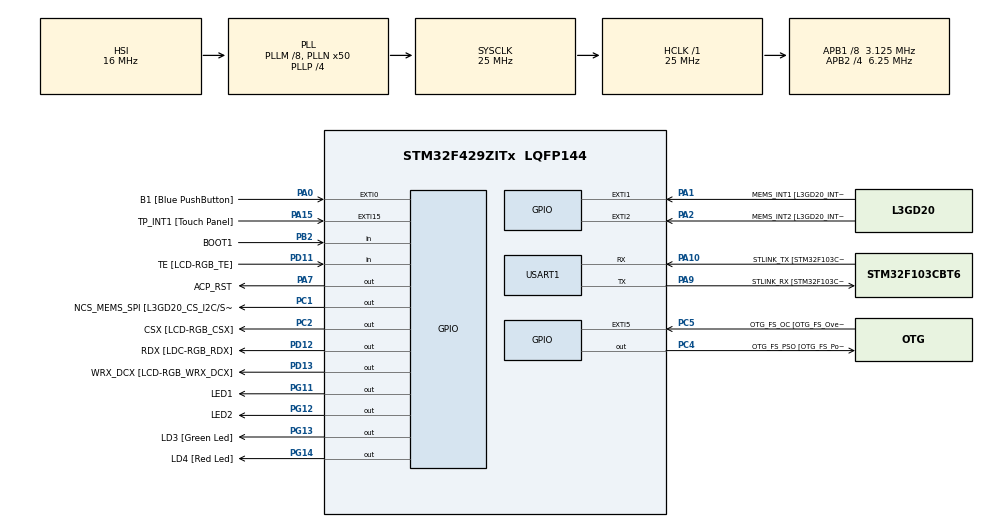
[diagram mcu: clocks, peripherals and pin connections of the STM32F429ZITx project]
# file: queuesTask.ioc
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Mcu.Family=STM32F4
Mcu.Name=STM32F429ZITx
Mcu.Package=LQFP144
NVIC.PriorityGroup=NVIC_PRIORITYGROUP_4
NVIC.TIM6_DAC_IRQn=true\:15\:0\:false\:false\:true\:false\:true\:true
NVIC.TimeBase=TIM6_DAC_IRQn
NVIC.TimeBaseIP=TIM6
NVIC.USART1_IRQn=true\:6\:0\:true\:false\:true\:true\:true\:true
PA0/WKUP.GPIO_Label=B1 [Blue PushButton]
PA0/WKUP.GPIO_ModeDefaultEXTI=GPIO_MODE_EVT_RISING
PA0/WKUP.GPIO_PuPd=GPIO_NOPULL
PA0/WKUP.Signal=GPXTI0
PA1.GPIO_Label=MEMS_INT1 [L3GD20_INT1]
PA1.GPIO_ModeDefaultEXTI=GPIO_MODE_EVT_RISING
PA1.GPIO_PuPd=GPIO_NOPULL
PA1.Signal=GPXTI1
PA10.GPIO_Label=STLINK_TX [STM32F103CBT6_PA2]
PA10.Mode=Asynchronous
PA10.Signal=USART1_RX
PA11.GPIO_Label=R4
PA11.GPIO_Mode=GPIO_MODE_AF_PP
PA11.GPIO_PuPd=GPIO_NOPULL
PA11.GPIO_Speed=GPIO_SPEED_FREQ_LOW
PA11.Signal=LTDC_R4
PA12.GPIO_Label=R5
PA12.GPIO_Mode=GPIO_MODE_AF_PP
PA12.GPIO_PuPd=GPIO_NOPULL
PA12.GPIO_Speed=GPIO_SPEED_FREQ_LOW
PA12.Signal=LTDC_R5
PA13.GPIO_Label=SWDIO
PA13.Signal=SYS_JTMS-SWDIO
PA14.GPIO_Label=SWCLK
PA14.Signal=SYS_JTCK-SWCLK
PA15.GPIO_Label=TP_INT1 [Touch Panel]
PA15.GPIO_ModeDefaultEXTI=GPIO_MODE_EVT_RISING
PA15.GPIO_PuPd=GPIO_NOPULL
PA15.Signal=GPXTI15
PA2.GPIO_Label=MEMS_INT2 [L3GD20_INT2]
PA2.GPIO_ModeDefaultEXTI=GPIO_MODE_EVT_RISING
PA2.GPIO_PuPd=GPIO_NOPULL
PA2.Signal=GPXTI2
PA3.GPIO_Label=B5
PA3.GPIO_Mode=GPIO_MODE_AF_PP
PA3.GPIO_PuPd=GPIO_NOPULL
PA3.GPIO_Speed=GPIO_SPEED_FREQ_LOW
PA3.Signal=LTDC_B5
PA4.GPIO_Label=VSYNC
PA4.GPIO_Mode=GPIO_MODE_AF_PP
PA4.GPIO_PuPd=GPIO_NOPULL
PA4.GPIO_Speed=GPIO_SPEED_FREQ_LOW
PA4.Signal=LTDC_VSYNC
PA6.GPIO_Label=G2
PA6.GPIO_Mode=GPIO_MODE_AF_PP
PA6.GPIO_PuPd=GPIO_NOPULL
PA6.GPIO_Speed=GPIO_SPEED_FREQ_LOW
PA6.Signal=LTDC_G2
PA7.GPIO_Label=ACP_RST
PA7.GPIO_Mode=GPIO_MODE_OUTPUT_PP
PA7.GPIO_PuPd=GPIO_NOPULL
PA7.GPIO_Speed=GPIO_SPEED_FREQ_LOW
PA7.Signal=GPIO_Output
PA8.GPIO_Label=I2C3_SCL [ACP/RF_SCL]
PA8.GPIO_Mode=GPIO_MODE_AF_OD
PA8.GPIO_PuPd=GPIO_NOPULL
PA8.GPIO_Speed=GPIO_SPEED_FREQ_LOW
PA8.Signal=I2C3_SCL
PA9.GPIO_Label=STLINK_RX [STM32F103CBT6_PA3]
PA9.Mode=Asynchronous
PA9.Signal=USART1_TX
PB0.GPIO_Label=R3
PB0.GPIO_Mode=GPIO_MODE_AF_PP
PB0.GPIO_PuPd=GPIO_NOPULL
PB0.GPIO_Speed=GPIO_SPEED_FREQ_LOW
PB0.Signal=LTDC_R3
PB1.GPIO_Label=R6
PB1.GPIO_Mode=GPIO_MODE_AF_PP
PB1.GPIO_PuPd=GPIO_NOPULL
PB1.GPIO_Speed=GPIO_SPEED_FREQ_LOW
PB1.Signal=LTDC_R6
PB10.GPIO_Label=G4
PB10.GPIO_Mode=GPIO_MODE_AF_PP
PB10.GPIO_PuPd=GPIO_NOPULL
PB10.GPIO_Speed=GPIO_SPEED_FREQ_LOW
PB10.Signal=LTDC_G4
PB11.GPIO_Label=G5
PB11.GPIO_Mode=GPIO_MODE_AF_PP
PB11.GPIO_PuPd=GPIO_NOPULL
PB11.GPIO_Speed=GPIO_SPEED_FREQ_LOW
PB11.Signal=LTDC_G5
PB12.GPIO_Label=OTG_HS_ID
PB12.GPIO_Mode=GPIO_MODE_AF_PP
PB12.GPIO_PuPd=GPIO_NOPULL
PB12.GPIO_Speed=GPIO_SPEED_FREQ_LOW
PB12.Signal=USB_OTG_HS_ID
PB13.GPIO_Label=VBUS_HS
PB13.GPIO_Mode=GPIO_MODE_INPUT
PB13.GPIO_PuPd=GPIO_NOPULL
PB13.Signal=USB_OTG_HS_VBUS
PB14.GPIO_Label=OTG_HS_DM
PB14.GPIO_Mode=GPIO_MODE_AF_PP
PB14.GPIO_PuPd=GPIO_NOPULL
PB14.GPIO_Speed=GPIO_SPEED_FREQ_LOW
PB14.Signal=USB_OTG_HS_DM
PB15.GPIO_Label=OTG_HS_DP
PB15.GPIO_Mode=GPIO_MODE_AF_PP
PB15.GPIO_PuPd=GPIO_NOPULL
PB15.GPIO_Speed=GPIO_SPEED_FREQ_LOW
PB15.Signal=USB_OTG_HS_DP
PB2/BOOT1.GPIO_Label=BOOT1
PB2/BOOT1.GPIO_Mode=GPIO_MODE_INPUT
PB2/BOOT1.GPIO_PuPd=GPIO_NOPULL
PB2/BOOT1.Signal=GPIO_Input
PB5.GPIO_Label=SDCKE1
PB5.GPIO_Mode=GPIO_MODE_AF_PP
PB5.GPIO_PuPd=GPIO_NOPULL
PB5.GPIO_Speed=GPIO_SPEED_FREQ_VERY_HIGH
PB5.Signal=FMC_SDCKE1
PB6.GPIO_Label=SDNE1 [SDRAM_CS]
PB6.GPIO_Mode=GPIO_MODE_AF_PP
PB6.GPIO_PuPd=GPIO_NOPULL
PB6.GPIO_Speed=GPIO_SPEED_FREQ_VERY_HIGH
PB6.Signal=FMC_SDNE1
PB8.GPIO_Label=B6
PB8.GPIO_Mode=GPIO_MODE_AF_PP
PB8.GPIO_PuPd=GPIO_NOPULL
PB8.GPIO_Speed=GPIO_SPEED_FREQ_LOW
PB8.Signal=LTDC_B6
PB9.GPIO_Label=B7
PB9.GPIO_Mode=GPIO_MODE_AF_PP
PB9.GPIO_PuPd=GPIO_NOPULL
PB9.GPIO_Speed=GPIO_SPEED_FREQ_LOW
PB9.Signal=LTDC_B7
PC0.GPIO_Label=SDNWE
PC0.GPIO_Mode=GPIO_MODE_AF_PP
PC0.GPIO_PuPd=GPIO_NOPULL
PC0.GPIO_Speed=GPIO_SPEED_FREQ_VERY_HIGH
PC0.Signal=FMC_SDNWE
PC1.GPIO_Label=NCS_MEMS_SPI [L3GD20_CS_I2C/SPI]
PC1.GPIO_Mode=GPIO_MODE_OUTPUT_PP
PC1.GPIO_PuPd=GPIO_NOPULL
PC1.GPIO_Speed=GPIO_SPEED_FREQ_LOW
PC1.Signal=GPIO_Output
PC10.GPIO_Label=R2
PC10.GPIO_Mode=GPIO_MODE_AF_PP
PC10.GPIO_PuPd=GPIO_NOPULL
PC10.GPIO_Speed=GPIO_SPEED_FREQ_LOW
PC10.Signal=LTDC_R2
PC14/OSC32_IN.GPIO_Label=PC14-OSC32_IN
PC14/OSC32_IN.Signal=RCC_OSC32_IN
PC15/OSC32_OUT.GPIO_Label=PC15-OSC32_OUT
PC15/OSC32_OUT.Signal=RCC_OSC32_OUT
PC2.GPIO_Label=CSX [LCD-RGB_CSX]
PC2.GPIO_Mode=GPIO_MODE_OUTPUT_PP
PC2.GPIO_PuPd=GPIO_NOPULL
PC2.GPIO_Speed=GPIO_SPEED_FREQ_LOW
PC2.Signal=GPIO_Output
PC4.GPIO_Label=OTG_FS_PSO [OTG_FS_PowerSwitchOn]
PC4.GPIO_Mode=GPIO_MODE_OUTPUT_PP
PC4.GPIO_PuPd=GPIO_NOPULL
PC4.GPIO_Speed=GPIO_SPEED_FREQ_LOW
PC4.Signal=GPIO_Output
PC5.GPIO_Label=OTG_FS_OC [OTG_FS_OverCurrent]
PC5.GPIO_ModeDefaultEXTI=GPIO_MODE_EVT_RISING
PC5.Signal=GPXTI5
PC6.GPIO_Label=HSYNC
PC6.GPIO_Mode=GPIO_MODE_AF_PP
PC6.GPIO_PuPd=GPIO_NOPULL
PC6.GPIO_Speed=GPIO_SPEED_FREQ_LOW
PC6.Signal=LTDC_HSYNC
PC7.GPIO_Label=G6
PC7.GPIO_Mode=GPIO_MODE_AF_PP
PC7.GPIO_PuPd=GPIO_NOPULL
PC7.GPIO_Speed=GPIO_SPEED_FREQ_LOW
PC7.Signal=LTDC_G6
PC9.GPIO_Label=I2C3_SDA [ACP/RF_SDA]
PC9.GPIO_Mode=GPIO_MODE_AF_OD
PC9.GPIO_PuPd=GPIO_NOPULL
PC9.GPIO_Speed=GPIO_SPEED_FREQ_LOW
PC9.Signal=I2C3_SDA
PD0.GPIO_Label=D2
PD0.GPIO_Mode=GPIO_MODE_AF_PP
PD0.GPIO_PuPd=GPIO_NOPULL
PD0.GPIO_Speed=GPIO_SPEED_FREQ_VERY_HIGH
PD0.Signal=FMC_D2_DA2
PD1.GPIO_Label=D3
PD1.GPIO_Mode=GPIO_MODE_AF_PP
PD1.GPIO_PuPd=GPIO_NOPULL
PD1.GPIO_Speed=GPIO_SPEED_FREQ_VERY_HIGH
PD1.Signal=FMC_D3_DA3
PD10.GPIO_Label=D15
PD10.GPIO_Mode=GPIO_MODE_AF_PP
PD10.GPIO_PuPd=GPIO_NOPULL
PD10.GPIO_Speed=GPIO_SPEED_FREQ_VERY_HIGH
PD10.Signal=FMC_D15_DA15
PD11.GPIO_Label=TE [LCD-RGB_TE]
PD11.GPIO_Mode=GPIO_MODE_INPUT
PD11.GPIO_PuPd=GPIO_NOPULL
PD11.Signal=GPIO_Input
PD12.GPIO_Label=RDX [LDC-RGB_RDX]
PD12.GPIO_Mode=GPIO_MODE_OUTPUT_PP
PD12.GPIO_PuPd=GPIO_NOPULL
PD12.GPIO_Speed=GPIO_SPEED_FREQ_LOW
PD12.Signal=GPIO_Output
PD13.GPIO_Label=WRX_DCX [LCD-RGB_WRX_DCX]
PD13.GPIO_Mode=GPIO_MODE_OUTPUT_PP
PD13.GPIO_PuPd=GPIO_NOPULL
PD13.GPIO_Speed=GPIO_SPEED_FREQ_LOW
PD13.Signal=GPIO_Output
PD14.GPIO_Label=D0
PD14.GPIO_Mode=GPIO_MODE_AF_PP
PD14.GPIO_PuPd=GPIO_NOPULL
PD14.GPIO_Speed=GPIO_SPEED_FREQ_VERY_HIGH
PD14.Signal=FMC_D0_DA0
PD15.GPIO_Label=D1
PD15.GPIO_Mode=GPIO_MODE_AF_PP
PD15.GPIO_PuPd=GPIO_NOPULL
PD15.GPIO_Speed=GPIO_SPEED_FREQ_VERY_HIGH
PD15.Signal=FMC_D1_DA1
PD3.GPIO_Label=G7
PD3.GPIO_Mode=GPIO_MODE_AF_PP
PD3.GPIO_PuPd=GPIO_NOPULL
PD3.GPIO_Speed=GPIO_SPEED_FREQ_LOW
PD3.Signal=LTDC_G7
PD6.GPIO_Label=B2
PD6.GPIO_Mode=GPIO_MODE_AF_PP
PD6.GPIO_PuPd=GPIO_NOPULL
PD6.GPIO_Speed=GPIO_SPEED_FREQ_LOW
PD6.Signal=LTDC_B2
PD8.GPIO_Label=D13
PD8.GPIO_Mode=GPIO_MODE_AF_PP
PD8.GPIO_PuPd=GPIO_NOPULL
PD8.GPIO_Speed=GPIO_SPEED_FREQ_VERY_HIGH
PD8.Signal=FMC_D13_DA13
PD9.GPIO_Label=D14
PD9.GPIO_Mode=GPIO_MODE_AF_PP
PD9.GPIO_PuPd=GPIO_NOPULL
PD9.GPIO_Speed=GPIO_SPEED_FREQ_VERY_HIGH
PD9.Signal=FMC_D14_DA14
PE0.GPIO_Label=NBL0 [SDRAM_LDQM]
PE0.GPIO_Mode=GPIO_MODE_AF_PP
PE0.GPIO_PuPd=GPIO_NOPULL
PE0.GPIO_Speed=GPIO_SPEED_FREQ_VERY_HIGH
PE0.Signal=FMC_NBL0
PE1.GPIO_Label=NBL1 [SDRAM_UDQM]
PE1.GPIO_Mode=GPIO_MODE_AF_PP
PE1.GPIO_PuPd=GPIO_NOPULL
PE1.GPIO_Speed=GPIO_SPEED_FREQ_VERY_HIGH
PE1.Signal=FMC_NBL1
PE10.GPIO_Label=D7
PE10.GPIO_Mode=GPIO_MODE_AF_PP
PE10.GPIO_PuPd=GPIO_NOPULL
PE10.GPIO_Speed=GPIO_SPEED_FREQ_VERY_HIGH
PE10.Signal=FMC_D7_DA7
PE11.GPIO_Label=D8
PE11.GPIO_Mode=GPIO_MODE_AF_PP
PE11.GPIO_PuPd=GPIO_NOPULL
PE11.GPIO_Speed=GPIO_SPEED_FREQ_VERY_HIGH
PE11.Signal=FMC_D8_DA8
PE12.GPIO_Label=D9
PE12.GPIO_Mode=GPIO_MODE_AF_PP
PE12.GPIO_PuPd=GPIO_NOPULL
PE12.GPIO_Speed=GPIO_SPEED_FREQ_VERY_HIGH
PE12.Signal=FMC_D9_DA9
PE13.GPIO_Label=D10
PE13.GPIO_Mode=GPIO_MODE_AF_PP
PE13.GPIO_PuPd=GPIO_NOPULL
PE13.GPIO_Speed=GPIO_SPEED_FREQ_VERY_HIGH
PE13.Signal=FMC_D10_DA10
PE14.GPIO_Label=D11
PE14.GPIO_Mode=GPIO_MODE_AF_PP
PE14.GPIO_PuPd=GPIO_NOPULL
PE14.GPIO_Speed=GPIO_SPEED_FREQ_VERY_HIGH
PE14.Signal=FMC_D11_DA11
PE15.GPIO_Label=D12
PE15.GPIO_Mode=GPIO_MODE_AF_PP
PE15.GPIO_PuPd=GPIO_NOPULL
PE15.GPIO_Speed=GPIO_SPEED_FREQ_VERY_HIGH
PE15.Signal=FMC_D12_DA12
PE7.GPIO_Label=D4
PE7.GPIO_Mode=GPIO_MODE_AF_PP
PE7.GPIO_PuPd=GPIO_NOPULL
PE7.GPIO_Speed=GPIO_SPEED_FREQ_VERY_HIGH
PE7.Signal=FMC_D4_DA4
PE8.GPIO_Label=D5
PE8.GPIO_Mode=GPIO_MODE_AF_PP
PE8.GPIO_PuPd=GPIO_NOPULL
PE8.GPIO_Speed=GPIO_SPEED_FREQ_VERY_HIGH
PE8.Signal=FMC_D5_DA5
PE9.GPIO_Label=D6
PE9.GPIO_Mode=GPIO_MODE_AF_PP
PE9.GPIO_PuPd=GPIO_NOPULL
PE9.GPIO_Speed=GPIO_SPEED_FREQ_VERY_HIGH
PE9.Signal=FMC_D6_DA6
PF0.GPIO_Label=A0
PF0.GPIO_Mode=GPIO_MODE_AF_PP
PF0.GPIO_PuPd=GPIO_NOPULL
PF0.GPIO_Speed=GPIO_SPEED_FREQ_VERY_HIGH
PF0.Signal=FMC_A0
PF1.GPIO_Label=A1
PF1.GPIO_Mode=GPIO_MODE_AF_PP
PF1.GPIO_PuPd=GPIO_NOPULL
PF1.GPIO_Speed=GPIO_SPEED_FREQ_VERY_HIGH
PF1.Signal=FMC_A1
PF10.GPIO_Label=ENABLE [LCD-RGB_ENABLE]
PF10.GPIO_Mode=GPIO_MODE_AF_PP
PF10.GPIO_PuPd=GPIO_NOPULL
PF10.GPIO_Speed=GPIO_SPEED_FREQ_LOW
PF10.Signal=LTDC_DE
PF11.GPIO_Label=SDNRAS
PF11.GPIO_Mode=GPIO_MODE_AF_PP
PF11.GPIO_PuPd=GPIO_NOPULL
PF11.GPIO_Speed=GPIO_SPEED_FREQ_VERY_HIGH
PF11.Signal=FMC_SDNRAS
PF12.GPIO_Label=A6
PF12.GPIO_Mode=GPIO_MODE_AF_PP
PF12.GPIO_PuPd=GPIO_NOPULL
PF12.GPIO_Speed=GPIO_SPEED_FREQ_VERY_HIGH
PF12.Signal=FMC_A6
PF13.GPIO_Label=A7
PF13.GPIO_Mode=GPIO_MODE_AF_PP
PF13.GPIO_PuPd=GPIO_NOPULL
PF13.GPIO_Speed=GPIO_SPEED_FREQ_VERY_HIGH
PF13.Signal=FMC_A7
PF14.GPIO_Label=A8
PF14.GPIO_Mode=GPIO_MODE_AF_PP
PF14.GPIO_PuPd=GPIO_NOPULL
PF14.GPIO_Speed=GPIO_SPEED_FREQ_VERY_HIGH
PF14.Signal=FMC_A8
PF15.GPIO_Label=A9
PF15.GPIO_Mode=GPIO_MODE_AF_PP
PF15.GPIO_PuPd=GPIO_NOPULL
PF15.GPIO_Speed=GPIO_SPEED_FREQ_VERY_HIGH
PF15.Signal=FMC_A9
PF2.GPIO_Label=A2
PF2.GPIO_Mode=GPIO_MODE_AF_PP
PF2.GPIO_PuPd=GPIO_NOPULL
PF2.GPIO_Speed=GPIO_SPEED_FREQ_VERY_HIGH
PF2.Signal=FMC_A2
PF3.Signal=FMC_A3
PF4.Signal=FMC_A4
PF5.GPIO_Label=A5
PF5.GPIO_Mode=GPIO_MODE_AF_PP
PF5.GPIO_PuPd=GPIO_NOPULL
PF5.GPIO_Speed=GPIO_SPEED_FREQ_VERY_HIGH
PF5.Signal=FMC_A5
PF7.GPIO_Label=SPI5_SCK [L3GD20_SCL/SPC]
PF7.GPIO_Mode=GPIO_MODE_AF_PP
PF7.GPIO_PuPd=GPIO_NOPULL
PF7.GPIO_Speed=GPIO_SPEED_FREQ_LOW
PF7.Signal=SPI5_SCK
PF8.GPIO_Label=SPI5_MISO [L3GD20_SDO]
PF8.GPIO_Mode=GPIO_MODE_AF_PP
PF8.GPIO_PuPd=GPIO_NOPULL
PF8.GPIO_Speed=GPIO_SPEED_FREQ_LOW
PF8.Signal=SPI5_MISO
PF9.GPIO_Label=SPI5_MOSI [L3GD20_SDA/SDI/SDO]
PF9.GPIO_Mode=GPIO_MODE_AF_PP
PF9.GPIO_PuPd=GPIO_NOPULL
PF9.GPIO_Speed=GPIO_SPEED_FREQ_LOW
PF9.Signal=SPI5_MOSI
PG0.GPIO_Label=A10
PG0.GPIO_Mode=GPIO_MODE_AF_PP
PG0.GPIO_PuPd=GPIO_NOPULL
PG0.GPIO_Speed=GPIO_SPEED_FREQ_VERY_HIGH
PG0.Signal=FMC_A10
PG1.GPIO_Label=A11
PG1.GPIO_Mode=GPIO_MODE_AF_PP
PG1.GPIO_PuPd=GPIO_NOPULL
PG1.GPIO_Speed=GPIO_SPEED_FREQ_VERY_HIGH
PG1.Signal=FMC_A11
PG10.GPIO_Label=G3
PG10.GPIO_Mode=GPIO_MODE_AF_PP
PG10.GPIO_PuPd=GPIO_NOPULL
PG10.GPIO_Speed=GPIO_SPEED_FREQ_LOW
PG10.Signal=LTDC_G3
PG11.GPIO_Label=LED1
PG11.Signal=GPIO_Output
PG12.GPIO_Label=LED2
PG12.Signal=GPIO_Output
PG13.GPIO_Label=LD3 [Green Led]
PG13.GPIO_Mode=GPIO_MODE_OUTPUT_PP
PG13.GPIO_PuPd=GPIO_NOPULL
PG13.GPIO_Speed=GPIO_SPEED_FREQ_LOW
PG13.Signal=GPIO_Output
PG14.GPIO_Label=LD4 [Red Led]
PG14.GPIO_Mode=GPIO_MODE_OUTPUT_PP
PG14.GPIO_PuPd=GPIO_NOPULL
PG14.GPIO_Speed=GPIO_SPEED_FREQ_LOW
PG14.Signal=GPIO_Output
PG15.GPIO_Label=SDNCAS
PG15.GPIO_Mode=GPIO_MODE_AF_PP
PG15.GPIO_PuPd=GPIO_NOPULL
PG15.GPIO_Speed=GPIO_SPEED_FREQ_VERY_HIGH
PG15.Signal=FMC_SDNCAS
PG4.GPIO_Label=BA0
PG4.GPIO_Mode=GPIO_MODE_AF_PP
PG4.GPIO_PuPd=GPIO_NOPULL
PG4.GPIO_Speed=GPIO_SPEED_FREQ_VERY_HIGH
PG4.Signal=FMC_A14_BA0
PG5.GPIO_Label=BA1
PG5.GPIO_Mode=GPIO_MODE_AF_PP
PG5.GPIO_PuPd=GPIO_NOPULL
PG5.GPIO_Speed=GPIO_SPEED_FREQ_VERY_HIGH
PG5.Signal=FMC_A15_BA1
PG6.GPIO_Label=R7
PG6.GPIO_Mode=GPIO_MODE_AF_PP
PG6.GPIO_PuPd=GPIO_NOPULL
PG6.GPIO_Speed=GPIO_SPEED_FREQ_LOW
PG6.Signal=LTDC_R7
PG7.GPIO_Label=DOTCLK [LCT-RGB_DOTCLK]
PG7.GPIO_Mode=GPIO_MODE_AF_PP
PG7.GPIO_PuPd=GPIO_NOPULL
PG7.GPIO_Speed=GPIO_SPEED_FREQ_LOW
PG7.Signal=LTDC_CLK
PG8.GPIO_Label=SDCLK
PG8.GPIO_Mode=GPIO_MODE_AF_PP
PG8.GPIO_PuPd=GPIO_NOPULL
PG8.GPIO_Speed=GPIO_SPEED_FREQ_VERY_HIGH
PG8.Signal=FMC_SDCLK
PH0/OSC_IN.GPIO_Label=PH0-OSC_IN
PH0/OSC_IN.Signal=RCC_OSC_IN
PH1/OSC_OUT.GPIO_Label=PH1-OSC_OUT
PH1/OSC_OUT.Signal=RCC_OSC_OUT
ProjectManager.HeapSize=0x200
ProjectManager.StackSize=0x400
ProjectManager.TargetToolchain=STM32CubeIDE
RCC.48MHZClocksFreq_Value=14285714.285714285
RCC.AHBFreq_Value=25000000
RCC.APB1CLKDivider=RCC_HCLK_DIV8
RCC.APB1Freq_Value=3125000
RCC.APB1TimFreq_Value=6250000
RCC.APB2CLKDivider=RCC_HCLK_DIV4
RCC.APB2Freq_Value=6250000
RCC.APB2TimFreq_Value=12500000
RCC.CortexFreq_Value=25000000
RCC.HCLKFreq_Value=25000000
RCC.HSE_VALUE=8000000
RCC.HSI_VALUE=16000000
RCC.LSE_VALUE=32768
RCC.PLLM=8
RCC.PLLN=50
RCC.PLLP=RCC_PLLP_DIV4
RCC.PLLQ=7
RCC.SYSCLKFreq_VALUE=25000000
RCC.SYSCLKSource=RCC_SYSCLKSOURCE_PLLCLK
RCC.VCOOutputFreq_Value=100000000
RTC.HourFormat=RTC_HOURFORMAT_12
SH.FMC_A0.0=FMC_A0
SH.FMC_A1.0=FMC_A1
SH.FMC_A10.0=FMC_A10
SH.FMC_A11.0=FMC_A11
SH.FMC_A14_BA0.0=FMC_BA0
SH.FMC_A15_BA1.0=FMC_BA1
SH.FMC_A2.0=FMC_A2
SH.FMC_A3.0=FMC_A3
SH.FMC_A4.0=FMC_A4
SH.FMC_A5.0=FMC_A5
SH.FMC_A6.0=FMC_A6
SH.FMC_A7.0=FMC_A7
SH.FMC_A8.0=FMC_A8
SH.FMC_A9.0=FMC_A9
SH.FMC_D0_DA0.0=FMC_D0
SH.FMC_D10_DA10.0=FMC_D10
SH.FMC_D11_DA11.0=FMC_D11
SH.FMC_D12_DA12.0=FMC_D12
SH.FMC_D13_DA13.0=FMC_D13
SH.FMC_D14_DA14.0=FMC_D14
SH.FMC_D15_DA15.0=FMC_D15
SH.FMC_D1_DA1.0=FMC_D1
SH.FMC_D2_DA2.0=FMC_D2
SH.FMC_D3_DA3.0=FMC_D3
SH.FMC_D4_DA4.0=FMC_D4
SH.FMC_D5_DA5.0=FMC_D5
SH.FMC_D6_DA6.0=FMC_D6
SH.FMC_D7_DA7.0=FMC_D7
SH.FMC_D8_DA8.0=FMC_D8
SH.FMC_D9_DA9.0=FMC_D9
SH.FMC_NBL0.0=FMC_NBL0
SH.FMC_NBL1.0=FMC_NBL1
SH.FMC_SDCLK.0=FMC_SDCLK
SH.FMC_SDNCAS.0=FMC_SDNCAS
SH.FMC_SDNRAS.0=FMC_SDNRAS
SH.FMC_SDNWE.0=FMC_SDNWE
USART1.VirtualMode=VM_ASYNC
VP_RTC_VS_RTC_Activate.Mode=RTC_Enabled
VP_SYS_VS_tim6.Mode=TIM6
board=STM32F429I-DISC1

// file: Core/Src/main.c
/* USER CODE BEGIN Header */
/**
  ******************************************************************************
  * @file           : main.c
  * @brief          : Main program body
  ******************************************************************************
  * @attention
  *
  * Copyright (c) 2022 STMicroelectronics.
  * All rights reserved.
  *
  * This software is licensed under terms that can be found in the LICENSE file
  * in the root directory of this software component.
  * If no LICENSE file comes with this software, it is provided AS-IS.
  *
  ******************************************************************************
  */
/* USER CODE END Header */
#include "main.h"

RTC_HandleTypeDef hrtc;

UART_HandleTypeDef huart1;

/* USER CODE BEGIN PV */

// Task handler
xTaskHandle handle_cmd_task;
xTaskHandle handle_menu_task;
xTaskHandle handle_print_task;
xTaskHandle handle_led_task;
xTaskHandle handle_rtc_task;

// QUEUE creation
QueueHandle_t q_data;
QueueHandle_t q_print;

// User Data creation
uint8_t user_data;

//state variable delaraton
state_t curr_state = sMainMenu;

// Timer variable declaration
TimerHandle_t  handle_led_timer[4];  // its is an array of 4 elements representing the 4 timer we needed for led effect
TimerHandle_t rtc_timer;

/* USER CODE END PV */

void SystemClock_Config(void);
static void MX_GPIO_Init(void);
static void MX_RTC_Init(void);
static void MX_USART1_UART_Init(void);
/* USER CODE BEGIN PFP */

void led_effect_callback(TimerHandle_t xTimer);
void rtc_report_callback( TimerHandle_t xTimer );

/* USER CODE END PFP */

int main(void)
{
  /* USER CODE BEGIN 1 */
	BaseType_t status;
  /* USER CODE END 1 */

  /* MCU Configuration--------------------------------------------------------*/

  /* Reset of all peripherals, Initializes the Flash interface and the Systick. */
  HAL_Init();

  /* Configure the system clock */
  SystemClock_Config();

  /* Initialize all configured peripherals */
  MX_GPIO_Init();
  MX_RTC_Init();
  MX_USART1_UART_Init();
  /* USER CODE BEGIN 2 */
  SEGGER_SYSVIEW_Conf();
  //SEGGER_SYSVIEW_Start();

  // Task creation
  status = xTaskCreate(menu_task, "menu_task", 250, NULL, 2, &handle_menu_task);
  configASSERT(status == pdPASS);

  status = xTaskCreate(cmd_handler_task, "cmd_task", 250, NULL, 2, &handle_cmd_task);
  configASSERT(status == pdPASS);

  status = xTaskCreate(print_task, "print_task", 250, NULL, 2, &handle_print_task);
  configASSERT(status == pdPASS);

  status = xTaskCreate(led_task, "led_task", 250, NULL, 2, &handle_led_task);
  configASSERT(status == pdPASS);

  status = xTaskCreate(rtc_task, "rtc_task", 250, NULL, 2, &handle_rtc_task);
  configASSERT(status == pdPASS);

  //Que creation
  q_data = xQueueCreate (10, sizeof(char));  // Que has 10 item which have sizeof char as the size
  configASSERT(q_data != NULL);				  // If Que return value is NUll, hang the data here

  q_print = xQueueCreate (10, sizeof(size_t));
  configASSERT(q_print != NULL);

  // freeRTOS software timer created for led effect
	for(int i = 0 ; i < 4 ; i++)	//Arguements 1. human readable name, 2.time in ticks 3. auto roll the timer true 4. timer id 5. call back function
		handle_led_timer[i] = xTimerCreate("led_timer",pdMS_TO_TICKS(500),pdTRUE, (void*)(i+1),led_effect_callback);

	rtc_timer = xTimerCreate ("rtc_report_timer",pdMS_TO_TICKS(1000),pdTRUE,NULL,rtc_report_callback);

  // This function that is copied from stm32f4xx_haluart.c it prepares the peripherals to receive UART interupt
  // and is called UART receive interrupt and receive uart handler the variable to store the data and the lenght of the data to receive which is one
  //the first argument is the uart we are using, the second is the userdata tha will be received the third is the byte of data
  //It is related to HAL_UART_RxCpltCallback also found in stm32f4xx_haluart.c and it is implemented in line 527 of this file
  HAL_UART_Receive_IT(&huart1, (uint8_t*)&user_data, 1); // This is also copied from stm32f4xx_haluart.c

  vTaskStartScheduler();

  /* USER CODE END 2 */

  /* Infinite loop */
  while (1)
  {

  }
}

void SystemClock_Config(void)
{
  RCC_OscInitTypeDef RCC_OscInitStruct = {0};
  RCC_ClkInitTypeDef RCC_ClkInitStruct = {0};

  /** Configure the main internal regulator output voltage
  */
  __HAL_RCC_PWR_CLK_ENABLE();
  __HAL_PWR_VOLTAGESCALING_CONFIG(PWR_REGULATOR_VOLTAGE_SCALE3);

  /** Initializes the RCC Oscillators according to the specified parameters
  * in the RCC_OscInitTypeDef structure.
  */
  RCC_OscInitStruct.OscillatorType = RCC_OSCILLATORTYPE_HSI|RCC_OSCILLATORTYPE_LSI;
  RCC_OscInitStruct.HSIState = RCC_HSI_ON;
  RCC_OscInitStruct.HSICalibrationValue = RCC_HSICALIBRATION_DEFAULT;
  RCC_OscInitStruct.LSIState = RCC_LSI_ON;
  RCC_OscInitStruct.PLL.PLLState = RCC_PLL_ON;
  RCC_OscInitStruct.PLL.PLLSource = RCC_PLLSOURCE_HSI;
  RCC_OscInitStruct.PLL.PLLM = 8;
  RCC_OscInitStruct.PLL.PLLN = 50;
  RCC_OscInitStruct.PLL.PLLP = RCC_PLLP_DIV4;
  RCC_OscInitStruct.PLL.PLLQ = 7;
  if (HAL_RCC_OscConfig(&RCC_OscInitStruct) != HAL_OK)
  {
    Error_Handler();
  }

  /** Initializes the CPU, AHB and APB buses clocks
  */
  RCC_ClkInitStruct.ClockType = RCC_CLOCKTYPE_HCLK|RCC_CLOCKTYPE_SYSCLK
                              |RCC_CLOCKTYPE_PCLK1|RCC_CLOCKTYPE_PCLK2;
  RCC_ClkInitStruct.SYSCLKSource = RCC_SYSCLKSOURCE_PLLCLK;
  RCC_ClkInitStruct.AHBCLKDivider = RCC_SYSCLK_DIV1;
  RCC_ClkInitStruct.APB1CLKDivider = RCC_HCLK_DIV8;
  RCC_ClkInitStruct.APB2CLKDivider = RCC_HCLK_DIV4;

  if (HAL_RCC_ClockConfig(&RCC_ClkInitStruct, FLASH_LATENCY_0) != HAL_OK)
  {
    Error_Handler();
  }
}

static void MX_RTC_Init(void)
{

  /** Initialize RTC Only
  */
  hrtc.Instance = RTC;
  hrtc.Init.HourFormat = RTC_HOURFORMAT_12;
  hrtc.Init.AsynchPrediv = 127;
  hrtc.Init.SynchPrediv = 255;
  hrtc.Init.OutPut = RTC_OUTPUT_DISABLE;
  hrtc.Init.OutPutPolarity = RTC_OUTPUT_POLARITY_HIGH;
  hrtc.Init.OutPutType = RTC_OUTPUT_TYPE_OPENDRAIN;
  if (HAL_RTC_Init(&hrtc) != HAL_OK)
  {
    Error_Handler();
  }

}

static void MX_USART1_UART_Init(void)
{

  huart1.Instance = USART1;
  huart1.Init.BaudRate = 115200;
  huart1.Init.WordLength = UART_WORDLENGTH_8B;
  huart1.Init.StopBits = UART_STOPBITS_1;
  huart1.Init.Parity = UART_PARITY_NONE;
  huart1.Init.Mode = UART_MODE_TX_RX;
  huart1.Init.HwFlowCtl = UART_HWCONTROL_NONE;
  huart1.Init.OverSampling = UART_OVERSAMPLING_16;
  if (HAL_UART_Init(&huart1) != HAL_OK)
  {
    Error_Handler();
  }

}

static void MX_GPIO_Init(void)
{
  GPIO_InitTypeDef GPIO_InitStruct = {0};

  /* GPIO Ports Clock Enable */
  __HAL_RCC_GPIOC_CLK_ENABLE();
  __HAL_RCC_GPIOF_CLK_ENABLE();
  __HAL_RCC_GPIOH_CLK_ENABLE();
  __HAL_RCC_GPIOA_CLK_ENABLE();
  __HAL_RCC_GPIOB_CLK_ENABLE();
  __HAL_RCC_GPIOG_CLK_ENABLE();
  __HAL_RCC_GPIOE_CLK_ENABLE();
  __HAL_RCC_GPIOD_CLK_ENABLE();

  /*Configure GPIO pin Output Level */
  HAL_GPIO_WritePin(GPIOC, NCS_MEMS_SPI_Pin|CSX_Pin|OTG_FS_PSO_Pin, GPIO_PIN_RESET);

  /*Configure GPIO pin Output Level */
  HAL_GPIO_WritePin(ACP_RST_GPIO_Port, ACP_RST_Pin, GPIO_PIN_RESET);

  /*Configure GPIO pin Output Level */
  HAL_GPIO_WritePin(GPIOD, RDX_Pin|WRX_DCX_Pin, GPIO_PIN_RESET);

  /*Configure GPIO pin Output Level */
  HAL_GPIO_WritePin(GPIOG, LED1_Pin|LED2_Pin|LD3_Pin|LD4_Pin, GPIO_PIN_RESET);

  /*Configure GPIO pins : A0_Pin A1_Pin A2_Pin PF3
                           PF4 A5_Pin SDNRAS_Pin A6_Pin
                           A7_Pin A8_Pin A9_Pin */
  GPIO_InitStruct.Pin = A0_Pin|A1_Pin|A2_Pin|GPIO_PIN_3
                          |GPIO_PIN_4|A5_Pin|SDNRAS_Pin|A6_Pin
                          |A7_Pin|A8_Pin|A9_Pin;
  GPIO_InitStruct.Mode = GPIO_MODE_AF_PP;
  GPIO_InitStruct.Pull = GPIO_NOPULL;
  GPIO_InitStruct.Speed = GPIO_SPEED_FREQ_VERY_HIGH;
  GPIO_InitStruct.Alternate = GPIO_AF12_FMC;
  HAL_GPIO_Init(GPIOF, &GPIO_InitStruct);

  /*Configure GPIO pins : SPI5_SCK_Pin SPI5_MISO_Pin SPI5_MOSI_Pin */
  GPIO_InitStruct.Pin = SPI5_SCK_Pin|SPI5_MISO_Pin|SPI5_MOSI_Pin;
  GPIO_InitStruct.Mode = GPIO_MODE_AF_PP;
  GPIO_InitStruct.Pull = GPIO_NOPULL;
  GPIO_InitStruct.Speed = GPIO_SPEED_FREQ_LOW;
  GPIO_InitStruct.Alternate = GPIO_AF5_SPI5;
  HAL_GPIO_Init(GPIOF, &GPIO_InitStruct);

  /*Configure GPIO pin : ENABLE_Pin */
  GPIO_InitStruct.Pin = ENABLE_Pin;
  GPIO_InitStruct.Mode = GPIO_MODE_AF_PP;
  GPIO_InitStruct.Pull = GPIO_NOPULL;
  GPIO_InitStruct.Speed = GPIO_SPEED_FREQ_LOW;
  GPIO_InitStruct.Alternate = GPIO_AF14_LTDC;
  HAL_GPIO_Init(ENABLE_GPIO_Port, &GPIO_InitStruct);

  /*Configure GPIO pin : SDNWE_Pin */
  GPIO_InitStruct.Pin = SDNWE_Pin;
  GPIO_InitStruct.Mode = GPIO_MODE_AF_PP;
  GPIO_InitStruct.Pull = GPIO_NOPULL;
  GPIO_InitStruct.Speed = GPIO_SPEED_FREQ_VERY_HIGH;
  GPIO_InitStruct.Alternate = GPIO_AF12_FMC;
  HAL_GPIO_Init(SDNWE_GPIO_Port, &GPIO_InitStruct);

  /*Configure GPIO pins : NCS_MEMS_SPI_Pin CSX_Pin OTG_FS_PSO_Pin */
  GPIO_InitStruct.Pin = NCS_MEMS_SPI_Pin|CSX_Pin|OTG_FS_PSO_Pin;
  GPIO_InitStruct.Mode = GPIO_MODE_OUTPUT_PP;
  GPIO_InitStruct.Pull = GPIO_NOPULL;
  GPIO_InitStruct.Speed = GPIO_SPEED_FREQ_LOW;
  HAL_GPIO_Init(GPIOC, &GPIO_InitStruct);

  /*Configure GPIO pins : B1_Pin MEMS_INT1_Pin MEMS_INT2_Pin TP_INT1_Pin */
  GPIO_InitStruct.Pin = B1_Pin|MEMS_INT1_Pin|MEMS_INT2_Pin|TP_INT1_Pin;
  GPIO_InitStruct.Mode = GPIO_MODE_EVT_RISING;
  GPIO_InitStruct.Pull = GPIO_NOPULL;
  HAL_GPIO_Init(GPIOA, &GPIO_InitStruct);

  /*Configure GPIO pins : B5_Pin VSYNC_Pin G2_Pin R4_Pin
                           R5_Pin */
  GPIO_InitStruct.Pin = B5_Pin|VSYNC_Pin|G2_Pin|R4_Pin
                          |R5_Pin;
  GPIO_InitStruct.Mode = GPIO_MODE_AF_PP;
  GPIO_InitStruct.Pull = GPIO_NOPULL;
  GPIO_InitStruct.Speed = GPIO_SPEED_FREQ_LOW;
  GPIO_InitStruct.Alternate = GPIO_AF14_LTDC;
  HAL_GPIO_Init(GPIOA, &GPIO_InitStruct);

  /*Configure GPIO pin : ACP_RST_Pin */
  GPIO_InitStruct.Pin = ACP_RST_Pin;
  GPIO_InitStruct.Mode = GPIO_MODE_OUTPUT_PP;
  GPIO_InitStruct.Pull = GPIO_NOPULL;
  GPIO_InitStruct.Speed = GPIO_SPEED_FREQ_LOW;
  HAL_GPIO_Init(ACP_RST_GPIO_Port, &GPIO_InitStruct);

  /*Configure GPIO pin : OTG_FS_OC_Pin */
  GPIO_InitStruct.Pin = OTG_FS_OC_Pin;
  GPIO_InitStruct.Mode = GPIO_MODE_EVT_RISING;
  GPIO_InitStruct.Pull = GPIO_NOPULL;
  HAL_GPIO_Init(OTG_FS_OC_GPIO_Port, &GPIO_InitStruct);

  /*Configure GPIO pins : R3_Pin R6_Pin */
  GPIO_InitStruct.Pin = R3_Pin|R6_Pin;
  GPIO_InitStruct.Mode = GPIO_MODE_AF_PP;
  GPIO_InitStruct.Pull = GPIO_NOPULL;
  GPIO_InitStruct.Speed = GPIO_SPEED_FREQ_LOW;
  GPIO_InitStruct.Alternate = GPIO_AF9_LTDC;
  HAL_GPIO_Init(GPIOB, &GPIO_InitStruct);

  /*Configure GPIO pin : BOOT1_Pin */
  GPIO_InitStruct.Pin = BOOT1_Pin;
  GPIO_InitStruct.Mode = GPIO_MODE_INPUT;
  GPIO_InitStruct.Pull = GPIO_NOPULL;
  HAL_GPIO_Init(BOOT1_GPIO_Port, &GPIO_InitStruct);

  /*Configure GPIO pins : A10_Pin A11_Pin BA0_Pin BA1_Pin
                           SDCLK_Pin SDNCAS_Pin */
  GPIO_InitStruct.Pin = A10_Pin|A11_Pin|BA0_Pin|BA1_Pin
                          |SDCLK_Pin|SDNCAS_Pin;
  GPIO_InitStruct.Mode = GPIO_MODE_AF_PP;
  GPIO_InitStruct.Pull = GPIO_NOPULL;
  GPIO_InitStruct.Speed = GPIO_SPEED_FREQ_VERY_HIGH;
  GPIO_InitStruct.Alternate = GPIO_AF12_FMC;
  HAL_GPIO_Init(GPIOG, &GPIO_InitStruct);

  /*Configure GPIO pins : D4_Pin D5_Pin D6_Pin D7_Pin
                           D8_Pin D9_Pin D10_Pin D11_Pin
                           D12_Pin NBL0_Pin NBL1_Pin */
  GPIO_InitStruct.Pin = D4_Pin|D5_Pin|D6_Pin|D7_Pin
                          |D8_Pin|D9_Pin|D10_Pin|D11_Pin
                          |D12_Pin|NBL0_Pin|NBL1_Pin;
  GPIO_InitStruct.Mode = GPIO_MODE_AF_PP;
  GPIO_InitStruct.Pull = GPIO_NOPULL;
  GPIO_InitStruct.Speed = GPIO_SPEED_FREQ_VERY_HIGH;
  GPIO_InitStruct.Alternate = GPIO_AF12_FMC;
  HAL_GPIO_Init(GPIOE, &GPIO_InitStruct);

  /*Configure GPIO pins : G4_Pin G5_Pin B6_Pin B7_Pin */
  GPIO_InitStruct.Pin = G4_Pin|G5_Pin|B6_Pin|B7_Pin;
  GPIO_InitStruct.Mode = GPIO_MODE_AF_PP;
  GPIO_InitStruct.Pull = GPIO_NOPULL;
  GPIO_InitStruct.Speed = GPIO_SPEED_FREQ_LOW;
  GPIO_InitStruct.Alternate = GPIO_AF14_LTDC;
  HAL_GPIO_Init(GPIOB, &GPIO_InitStruct);

  /*Configure GPIO pins : OTG_HS_ID_Pin OTG_HS_DM_Pin OTG_HS_DP_Pin */
  GPIO_InitStruct.Pin = OTG_HS_ID_Pin|OTG_HS_DM_Pin|OTG_HS_DP_Pin;
  GPIO_InitStruct.Mode = GPIO_MODE_AF_PP;
  GPIO_InitStruct.Pull = GPIO_NOPULL;
  GPIO_InitStruct.Speed = GPIO_SPEED_FREQ_LOW;
  GPIO_InitStruct.Alternate = GPIO_AF12_OTG_HS_FS;
  HAL_GPIO_Init(GPIOB, &GPIO_InitStruct);

  /*Configure GPIO pin : VBUS_HS_Pin */
  GPIO_InitStruct.Pin = VBUS_HS_Pin;
  GPIO_InitStruct.Mode = GPIO_MODE_INPUT;
  GPIO_InitStruct.Pull = GPIO_NOPULL;
  HAL_GPIO_Init(VBUS_HS_GPIO_Port, &GPIO_InitStruct);

  /*Configure GPIO pins : D13_Pin D14_Pin D15_Pin D0_Pin
                           D1_Pin D2_Pin D3_Pin */
  GPIO_InitStruct.Pin = D13_Pin|D14_Pin|D15_Pin|D0_Pin
                          |D1_Pin|D2_Pin|D3_Pin;
  GPIO_InitStruct.Mode = GPIO_MODE_AF_PP;
  GPIO_InitStruct.Pull = GPIO_NOPULL;
  GPIO_InitStruct.Speed = GPIO_SPEED_FREQ_VERY_HIGH;
  GPIO_InitStruct.Alternate = GPIO_AF12_FMC;
  HAL_GPIO_Init(GPIOD, &GPIO_InitStruct);

  /*Configure GPIO pin : TE_Pin */
  GPIO_InitStruct.Pin = TE_Pin;
  GPIO_InitStruct.Mode = GPIO_MODE_INPUT;
  GPIO_InitStruct.Pull = GPIO_NOPULL;
  HAL_GPIO_Init(TE_GPIO_Port, &GPIO_InitStruct);

  /*Configure GPIO pins : RDX_Pin WRX_DCX_Pin */
  GPIO_InitStruct.Pin = RDX_Pin|WRX_DCX_Pin;
  GPIO_InitStruct.Mode = GPIO_MODE_OUTPUT_PP;
  GPIO_InitStruct.Pull = GPIO_NOPULL;
  GPIO_InitStruct.Speed = GPIO_SPEED_FREQ_LOW;
  HAL_GPIO_Init(GPIOD, &GPIO_InitStruct);

  /*Configure GPIO pins : R7_Pin DOTCLK_Pin */
  GPIO_InitStruct.Pin = R7_Pin|DOTCLK_Pin;
  GPIO_InitStruct.Mode = GPIO_MODE_AF_PP;
  GPIO_InitStruct.Pull = GPIO_NOPULL;
  GPIO_InitStruct.Speed = GPIO_SPEED_FREQ_LOW;
  GPIO_InitStruct.Alternate = GPIO_AF14_LTDC;
  HAL_GPIO_Init(GPIOG, &GPIO_InitStruct);

  /*Configure GPIO pins : HSYNC_Pin G6_Pin R2_Pin */
  GPIO_InitStruct.Pin = HSYNC_Pin|G6_Pin|R2_Pin;
  GPIO_InitStruct.Mode = GPIO_MODE_AF_PP;
  GPIO_InitStruct.Pull = GPIO_NOPULL;
  GPIO_InitStruct.Speed = GPIO_SPEED_FREQ_LOW;
  GPIO_InitStruct.Alternate = GPIO_AF14_LTDC;
  HAL_GPIO_Init(GPIOC, &GPIO_InitStruct);

  /*Configure GPIO pin : I2C3_SDA_Pin */
  GPIO_InitStruct.Pin = I2C3_SDA_Pin;
  GPIO_InitStruct.Mode = GPIO_MODE_AF_OD;
  GPIO_InitStruct.Pull = GPIO_NOPULL;
  GPIO_InitStruct.Speed = GPIO_SPEED_FREQ_LOW;
  GPIO_InitStruct.Alternate = GPIO_AF4_I2C3;
  HAL_GPIO_Init(I2C3_SDA_GPIO_Port, &GPIO_InitStruct);

  /*Configure GPIO pin : I2C3_SCL_Pin */
  GPIO_InitStruct.Pin = I2C3_SCL_Pin;
  GPIO_InitStruct.Mode = GPIO_MODE_AF_OD;
  GPIO_InitStruct.Pull = GPIO_NOPULL;
  GPIO_InitStruct.Speed = GPIO_SPEED_FREQ_LOW;
  GPIO_InitStruct.Alternate = GPIO_AF4_I2C3;
  HAL_GPIO_Init(I2C3_SCL_GPIO_Port, &GPIO_InitStruct);

  /*Configure GPIO pins : G7_Pin B2_Pin */
  GPIO_InitStruct.Pin = G7_Pin|B2_Pin;
  GPIO_InitStruct.Mode = GPIO_MODE_AF_PP;
  GPIO_InitStruct.Pull = GPIO_NOPULL;
  GPIO_InitStruct.Speed = GPIO_SPEED_FREQ_LOW;
  GPIO_InitStruct.Alternate = GPIO_AF14_LTDC;
  HAL_GPIO_Init(GPIOD, &GPIO_InitStruct);

  /*Configure GPIO pin : G3_Pin */
  GPIO_InitStruct.Pin = G3_Pin;
  GPIO_InitStruct.Mode = GPIO_MODE_AF_PP;
  GPIO_InitStruct.Pull = GPIO_NOPULL;
  GPIO_InitStruct.Speed = GPIO_SPEED_FREQ_LOW;
  GPIO_InitStruct.Alternate = GPIO_AF9_LTDC;
  HAL_GPIO_Init(G3_GPIO_Port, &GPIO_InitStruct);

  /*Configure GPIO pins : LED1_Pin LED2_Pin LD3_Pin LD4_Pin */
  GPIO_InitStruct.Pin = LED1_Pin|LED2_Pin|LD3_Pin|LD4_Pin;
  GPIO_InitStruct.Mode = GPIO_MODE_OUTPUT_PP;
  GPIO_InitStruct.Pull = GPIO_NOPULL;
  GPIO_InitStruct.Speed = GPIO_SPEED_FREQ_LOW;
  HAL_GPIO_Init(GPIOG, &GPIO_InitStruct);

  /*Configure GPIO pins : SDCKE1_Pin SDNE1_Pin */
  GPIO_InitStruct.Pin = SDCKE1_Pin|SDNE1_Pin;
  GPIO_InitStruct.Mode = GPIO_MODE_AF_PP;
  GPIO_InitStruct.Pull = GPIO_NOPULL;
  GPIO_InitStruct.Speed = GPIO_SPEED_FREQ_VERY_HIGH;
  GPIO_InitStruct.Alternate = GPIO_AF12_FMC;
  HAL_GPIO_Init(GPIOB, &GPIO_InitStruct);

}

void rtc_report_callback( TimerHandle_t xTimer )
{
	 show_time_date_itm();

}

/* USER CODE BEGIN 4 */
///* This function called from UART interrupt handler , hence executes in interrupt context */
void HAL_UART_RxCpltCallback(UART_HandleTypeDef *huart) // this is Uart receive call back copied from
{														  // from stm32f4xx_hal_uart.c

	uint8_t dummy;

	for (uint32_t i = 0; i < 4000; i++);

	if(! xQueueIsQueueFullFromISR(q_data))       // This check if que is is not full and it returns pdTrue if is True
	{							// Note since the function reurns true if full or false if not full i can write if (xQueueIsQueueFullFromISR(q_data)==pdFALSE
		/*Enqueue data byte */
		xQueueSendFromISR(q_data , (void*)&user_data , NULL); // This send data from ISR to the back of the que we created
	}
	else
	{
		if(user_data == '\n')
		{
			/*Make sure that last data byte of the queue is '\n' */
			xQueueReceiveFromISR(q_data,(void*)&dummy,NULL);   // if the que is full, we use receive from ISR to delete the last thing or byte from the queue
																// and place it in a dummy variable

			xQueueSendFromISR(q_data ,(void*)&user_data , NULL); // After deleting, we now send it to the back of the queue
		}
	}

	/*Send notification to command handling task if user_data = '\n' */
	if( user_data == '\n' )
	{
		/*send notification to command handling task */
		xTaskNotifyFromISR (handle_cmd_task,0,eNoAction,NULL);   // Notify command handle task that was part of the task we created
	}

	/* Enable UART data byte reception again in IT mode */
	HAL_UART_Receive_IT(&huart1, (uint8_t*)&user_data, 1);  //enable the huart again note that we are using uart 1
															// and the task is implemented in task_handler.c

}

void led_effect_callback(TimerHandle_t xTimer)
{
	int id;
	id = ( uint32_t ) pvTimerGetTimerID( xTimer );

	switch(id)
	{
	case 1 :
		LED_effect1();
		break;
	case 2:
		LED_effect2();
		break;
	case 3:
		LED_effect3();
		break;
	case 4:
		LED_effect4();
	}

}

/* USER CODE END 4 */

void HAL_TIM_PeriodElapsedCallback(TIM_HandleTypeDef *htim)
{
  if (htim->Instance == TIM6) {
    HAL_IncTick();
  }
}

void Error_Handler(void)
{
  __disable_irq();
  while (1)
  {
  }
}
